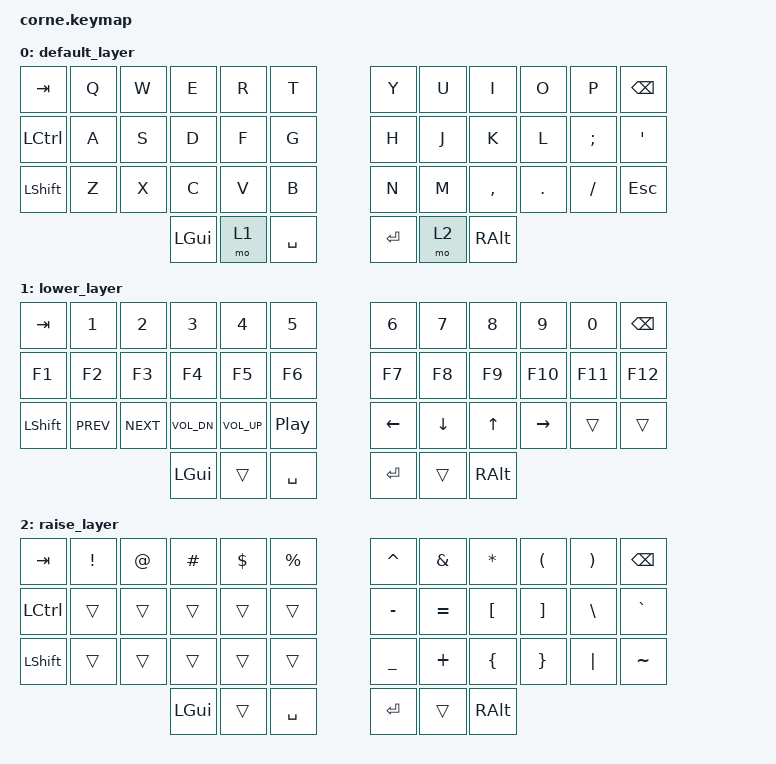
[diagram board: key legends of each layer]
/*
 * Copyright (c) 2020 The ZMK Contributors
 *
 * SPDX-License-Identifier: MIT
 */

#include <behaviors.dtsi>
#include <dt-bindings/zmk/keys.h>
#include <dt-bindings/zmk/bt.h>

/ {
        behaviors {
          tp: tap_preferred {
            compatible = "zmk,behavior-hold-tap";
            label = "TAP_PREFERRED";
            #binding-cells = <2>;
            tapping-term-ms = <150>;
            quick-tap-ms = <0>;
            flavor = "tap-preferred";
            bindings = <&kp>, <&kp>;
          }; 
        };

        keymap {
                compatible = "zmk,keymap";

                default_layer {
// -----------------------------------------------------------------------------------------
// |  TAB |  Q  |  W  |  E  |  R  |  T  |   |  Y  |  U   |  I  |  O  |  P  | BSPC |
// | CTRL |  A  |  S  |  D  |  F  |  G  |   |  H  |  J   |  K  |  L  |  ;  |  '   |
// | SHFT |  Z  |  X  |  C  |  V  |  B  |   |  N  |  M   |  ,  |  .  |  /  | ESC  |
//                    | GUI | LWR | SPC |   | ENT | RSE  | ALT |
                        bindings = <
   &kp TAB   &kp Q &kp W &kp E &kp R &kp T   &kp Y &kp U  &kp I     &kp O   &kp P    &kp BSPC
   &kp LCTRL &kp A &kp S &kp D &kp F &kp G   &kp H &kp J  &kp K     &kp L   &kp SEMI &kp SQT
   &kp LSHFT &kp Z &kp X &kp C &kp V &kp B   &kp N &kp M  &kp COMMA &kp DOT &kp FSLH &kp ESC
                  &kp LGUI &mo 1 &kp SPACE   &kp RET &mo 2 &kp RALT
                        >;
                };

                lower_layer {
// -----------------------------------------------------------------------------------------
// |  TAB |  1   |  2   |  3    |  4    |     5      |       |  6  |  7  |  8  |  9  |  0  | BSPC |
// |  F1  |  F2  |  F3  | F4    |  F5   |     F6     |       |  F7 | F8  |  F9 |  F10| F11 |  F12 |
// | SHFT | Prev | Next | Vol - | Vol + | Play/Pause |       | LFT | DWN |  UP | RGT |     |      |
//                      | GUI   |       |    SPC     |       | ENT |     | ALT |
                        bindings = <
   &kp TAB    &kp N1       &kp N2       &kp N3       &kp N4       &kp N5         &kp N6   &kp N7   &kp N8  &kp N9    &kp N0   &kp BSPC
   &kp F1     &kp F2       &kp F3       &kp F4       &kp F5       &kp F6         &kp F7   &kp F8   &kp F9  &kp F10   &kp F11  &kp F12
   &kp LSHFT  &kp C_PREV   &kp C_NEXT   &kp C_VOL_DN &kp C_VOL_UP &kp C_PP       &kp LEFT &kp DOWN &kp UP  &kp RIGHT &trans   &trans
                                        &kp LGUI     &trans       &kp SPACE      &kp RET  &trans   &kp RALT
                        >;
                };

                raise_layer {
// -----------------------------------------------------------------------------------------
// |  TAB |  !  |  @  |  #  |  $  |  %  |   |  ^  |  &  |  *  |  (  |  )  | BSPC |
// | CTRL |     |     |     |     |     |   |  -  |  =  |  [  |  ]  |  \  |  `   |
// | SHFT |     |     |     |     |     |   |  _  |  +  |  {  |  }  | "|" |  ~   |
//                    | GUI |     | SPC |   | ENT |     | ALT |
                        bindings = <
   &kp  TAB  &kp EXCL &kp AT &kp HASH &kp DLLR &kp PRCNT   &kp CARET &kp AMPS  &kp ASTRK &kp LPAR &kp RPAR &kp BSPC
   &kp LCTRL &trans   &trans &trans   &trans   &trans      &kp MINUS &kp EQUAL &kp LBKT  &kp RBKT &kp BSLH &kp GRAVE
   &kp LSHFT &trans   &trans &trans   &trans   &trans      &kp UNDER &kp PLUS  &kp LBRC  &kp RBRC &kp PIPE &kp TILDE
                             &kp LGUI &trans   &kp SPACE   &kp RET   &trans    &kp RALT
                        >;
                };
        };
};
